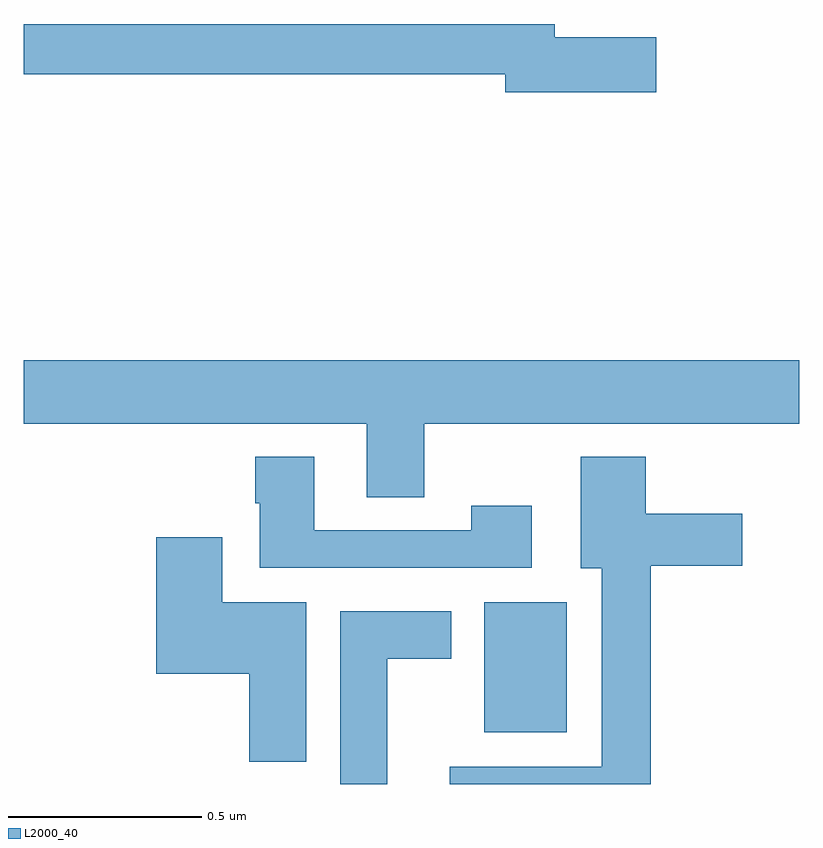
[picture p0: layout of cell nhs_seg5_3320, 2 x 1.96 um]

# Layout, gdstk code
import gdstk
lib = gdstk.Library(unit=1e-6, precision=1e-09)
def R(c, l, rs):  # rectangles x0, y0, x1, y1
    for r in rs: c.add(gdstk.rectangle(r[:2], r[2:], *l))
def P(c, l, *ps):  # polygons
    for p in ps: c.add(gdstk.Polygon(p, *l))
L2000_40 = (2000, 40)

nhs_seg5_3320 = lib.new_cell('nhs_seg5_3320')
R(nhs_seg5_3320, L2000_40, [(156.188,887.933,156.4,888.268)])
P(nhs_seg5_3320, L2000_40, [(156.631,889.725),(156.37,889.725),(156.37,889.759),(155,889.759),(155,889.63),(156.242,889.63),(156.242,889.583),(156.631,889.583)],
  [(156.033,888.728),(157,888.728),(157,888.892),(155,888.892),(155,888.728),(155.885,888.728),(155.885,888.538),(156.033,888.538)],
  [(156.31,888.517),(156.154,888.517),(156.154,888.453),(155.749,888.453),(155.749,888.643),(155.597,888.643),(155.597,888.523),(155.609,888.523),(155.609,888.357),(156.31,888.357)],
  [(156.617,888.362),(156.853,888.362),(156.853,888.496),(156.604,888.496),(156.604,888.643),(156.437,888.643),(156.437,888.356),(156.491,888.356),(156.491,887.844),(156.099,887.844),(156.099,887.799),(156.617,887.799)],
  [(155.728,888.268),(155.512,888.268),(155.512,888.436),(155.342,888.436),(155.342,888.083),(155.582,888.083),(155.582,887.857),(155.728,887.857)],
  [(155.938,888.122),(156.103,888.122),(156.103,888.244),(155.816,888.244),(155.816,887.799),(155.938,887.799)])

lib.write_gds('nhs_seg5_3320.gds')
